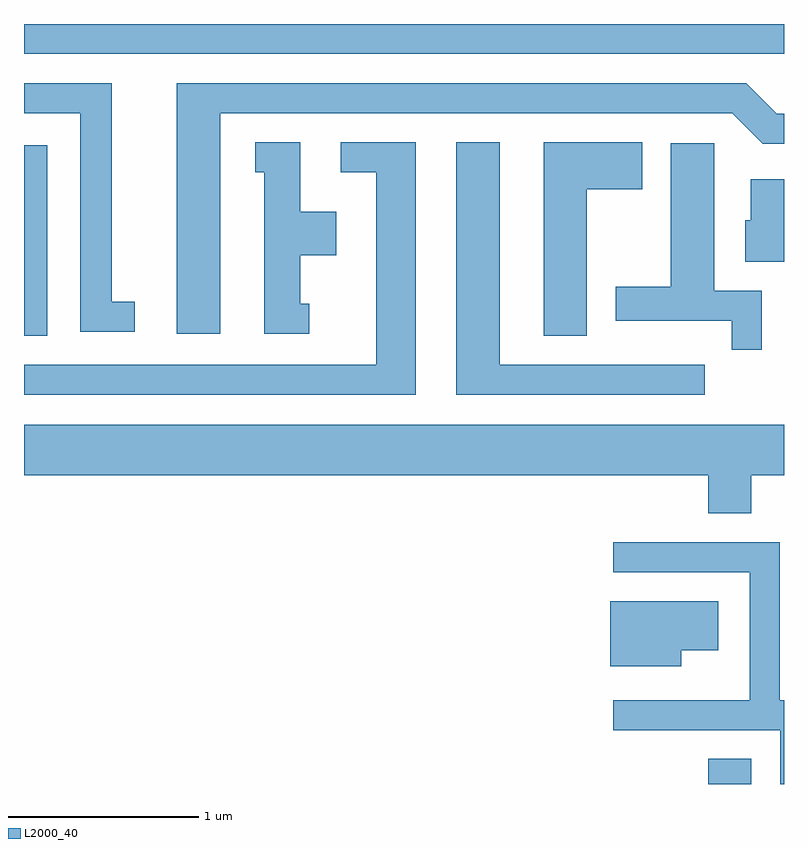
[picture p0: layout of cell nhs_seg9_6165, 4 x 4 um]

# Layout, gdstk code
import gdstk
lib = gdstk.Library(unit=1e-6, precision=1e-09)
def R(c, l, rs):  # rectangles x0, y0, x1, y1
    for r in rs: c.add(gdstk.rectangle(r[:2], r[2:], *l))
def P(c, l, *ps):  # polygons
    for p in ps: c.add(gdstk.Polygon(p, *l))
L2000_40 = (2000, 40)

nhs_seg9_6165 = lib.new_cell('nhs_seg9_6165')
R(nhs_seg9_6165, L2000_40, [(371.211,1972.432,371.439,1972.564), (367.611,1974.791,367.734,1975.794), (367.611,1976.276,371.611,1976.432)])
P(nhs_seg9_6165, L2000_40, [(368.644,1975.961),(371.339,1975.961),(371.499,1975.801),(371.611,1975.801),(371.611,1975.959),(371.572,1975.959),(371.412,1976.119),(368.416,1976.119),(368.416,1974.801),(368.644,1974.801)],
  [(368.193,1974.969),(368.074,1974.969),(368.074,1976.119),(367.611,1976.119),(367.611,1975.961),(367.906,1975.961),(367.906,1974.811),(368.193,1974.811)],
  [(369.113,1974.959),(369.064,1974.959),(369.064,1975.216),(369.254,1975.216),(369.254,1975.444),(369.064,1975.444),(369.064,1975.809),(368.828,1975.809),(368.828,1975.651),(368.876,1975.651),(368.876,1974.801),(369.113,1974.801)],
  [(371.193,1974.639),(370.114,1974.639),(370.114,1975.809),(369.886,1975.809),(369.886,1974.481),(371.193,1974.481)],
  [(370.574,1975.561),(370.864,1975.561),(370.864,1975.809),(370.346,1975.809),(370.346,1974.791),(370.574,1974.791)],
  [(369.674,1975.809),(369.278,1975.809),(369.278,1975.651),(369.466,1975.651),(369.466,1974.639),(367.611,1974.639),(367.611,1974.481),(369.674,1974.481)],
  [(371.494,1975.029),(371.244,1975.029),(371.244,1975.804),(371.016,1975.804),(371.016,1975.049),(370.726,1975.049),(370.726,1974.871),(371.336,1974.871),(371.336,1974.718),(371.494,1974.718)],
  [(371.611,1975.614),(371.436,1975.614),(371.436,1975.399),(371.406,1975.399),(371.406,1975.181),(371.611,1975.181)],
  [(371.439,1974.056),(371.611,1974.056),(371.611,1974.324),(367.611,1974.324),(367.611,1974.056),(371.211,1974.056),(371.211,1973.856),(371.439,1973.856)],
  [(371.611,1972.874),(371.589,1972.874),(371.589,1973.704),(370.713,1973.704),(370.713,1973.546),(371.431,1973.546),(371.431,1972.874),(370.713,1972.874),(370.713,1972.716),(371.591,1972.716),(371.591,1972.432),(371.611,1972.432)],
  [(371.069,1973.136),(371.264,1973.136),(371.264,1973.394),(370.696,1973.394),(370.696,1973.051),(371.069,1973.051)])

lib.write_gds('nhs_seg9_6165.gds')
